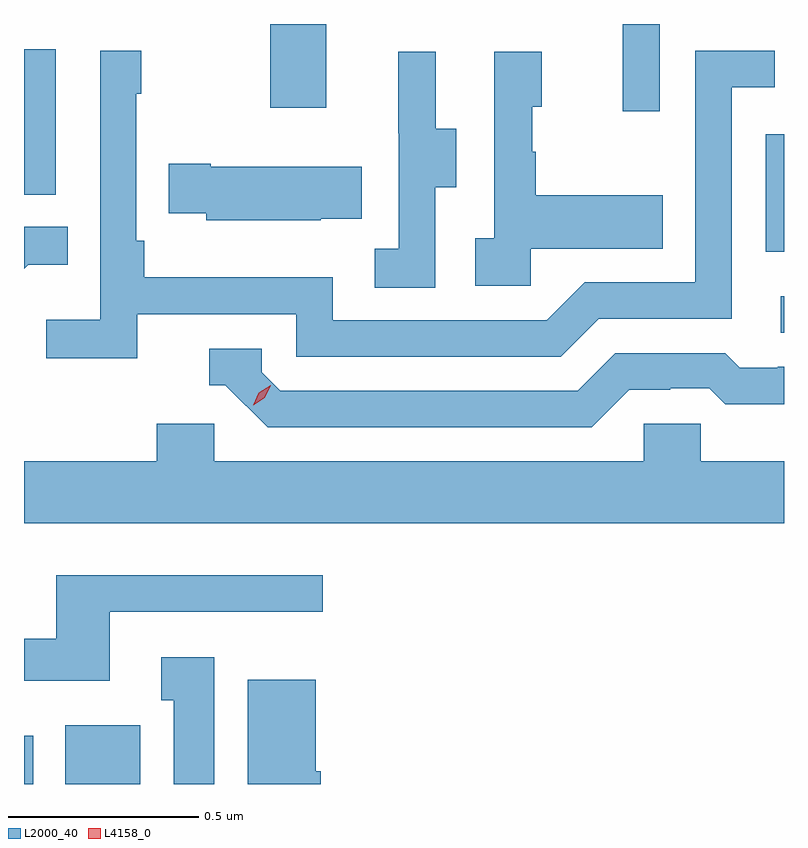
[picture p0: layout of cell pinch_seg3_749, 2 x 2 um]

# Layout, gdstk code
import gdstk
lib = gdstk.Library(unit=1e-6, precision=1e-09)
def R(c, l, rs):  # rectangles x0, y0, x1, y1
    for r in rs: c.add(gdstk.rectangle(r[:2], r[2:], *l))
def P(c, l, *ps):  # polygons
    for p in ps: c.add(gdstk.Polygon(p, *l))
L2000_40 = (2000, 40)
L4158_0 = (4158, 0)

pinch_seg3_749 = lib.new_cell('pinch_seg3_749')
R(pinch_seg3_749, L2000_40, [(868.696,729.534,868.72,729.661), (868.805,729.534,869.002,729.688), (870.687,730.722,870.696,730.818), (870.648,730.935,870.696,731.244), (868.696,731.085,868.78,731.467), (870.272,731.304,870.369,731.534), (869.344,731.313,869.491,731.534)])
P(pinch_seg3_749, L2000_40, [(868.994,730.77),(869.412,730.77),(869.412,730.659),(870.109,730.659),(870.208,730.758),(870.558,730.758),(870.558,731.367),(870.671,731.367),(870.671,731.463),(870.462,731.463),(870.462,730.854),(870.171,730.854),(870.072,730.755),(869.508,730.755),(869.508,730.867),(869.012,730.867),(869.012,730.963),(868.992,730.963),(868.992,731.351),(869.005,731.351),(869.005,731.464),(868.896,731.464),(868.896,730.756),(868.755,730.756),(868.755,730.654),(868.994,730.654)],
  [(870.03,730.943),(870.377,730.943),(870.377,731.083),(870.043,731.083),(870.043,731.198),(870.033,731.198),(870.033,731.316),(870.058,731.316),(870.058,731.461),(869.934,731.461),(869.934,730.97),(869.883,730.97),(869.883,730.845),(870.03,730.845)],
  [(869.778,731.104),(869.833,731.104),(869.833,731.259),(869.779,731.259),(869.779,731.461),(869.681,731.461),(869.681,731.247),(869.682,731.247),(869.682,730.943),(869.619,730.943),(869.619,730.84),(869.778,730.84)],
  [(869.477,731.021),(869.585,731.021),(869.585,731.158),(869.188,731.158),(869.188,731.166),(869.077,731.166),(869.077,731.036),(869.175,731.036),(869.175,731.018),(869.477,731.018)],
  [(868.707,730.901),(868.811,730.901),(868.811,731),(868.696,731),(868.696,730.89)],
  [(870.289,730.572),(870.396,730.572),(870.396,730.575),(870.499,730.575),(870.541,730.533),(870.696,730.533),(870.696,730.632),(870.679,730.632),(870.679,730.629),(870.58,730.629),(870.541,730.668),(870.252,730.668),(870.153,730.569),(869.37,730.569),(869.322,730.617),(869.322,730.68),(869.183,730.68),(869.183,730.584),(869.226,730.584),(869.337,730.473),(870.19,730.473)],
  [(870.696,730.384),(870.477,730.384),(870.477,730.482),(870.327,730.482),(870.327,730.384),(869.196,730.384),(869.196,730.482),(869.045,730.482),(869.045,730.384),(868.696,730.384),(868.696,730.22),(870.696,730.22)],
  [(868.921,729.987),(869.482,729.987),(869.482,730.084),(868.781,730.084),(868.781,729.916),(868.696,729.916),(868.696,729.806),(868.921,729.806)],
  [(869.197,729.868),(869.057,729.868),(869.057,729.755),(869.09,729.755),(869.09,729.534),(869.197,729.534)],
  [(869.477,729.568),(869.464,729.568),(869.464,729.808),(869.285,729.808),(869.285,729.534),(869.477,729.534)])
P(pinch_seg3_749, L4158_0, [(869.299,730.531),(869.299,730.531),(869.314,730.564),(869.345,730.584),(869.345,730.584),(869.345,730.584),(869.33,730.551),(869.299,730.531)])

lib.write_gds('pinch_seg3_749.gds')
